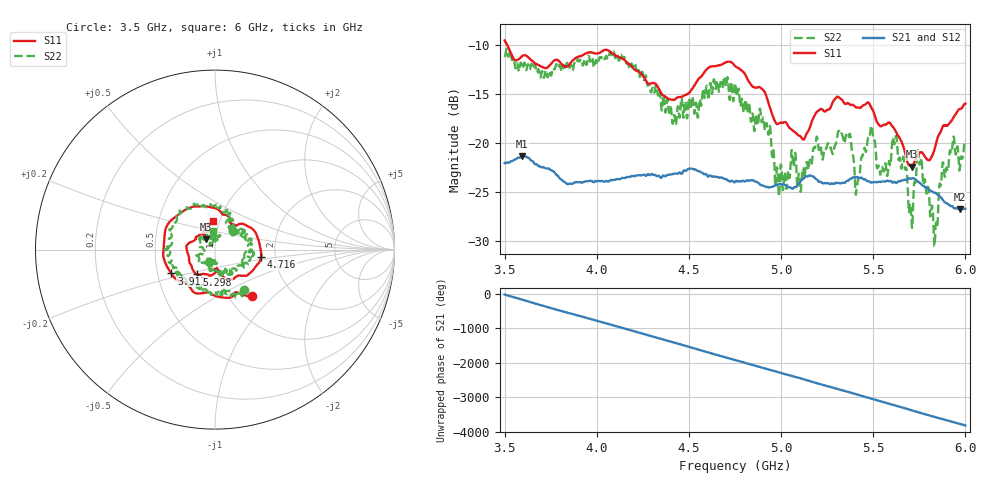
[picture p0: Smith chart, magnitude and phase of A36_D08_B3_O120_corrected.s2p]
! Created with skrf 1.9.0 (http://scikit-rf.org).
# Hz S RI R 50.0
!freq ReS11 ImS11 ReS21 ImS21 ReS12 ImS12 ReS22 ImS22
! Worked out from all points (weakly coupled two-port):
!   1601 points, 3.5 GHz to 6 GHz, reference 50 ohm
!   highest |S21| = -21.32 dB at 3.595 GHz (marker M1); lowest = -26.7 dB at 5.97 GHz (marker M2)
!   lowest |S11| = -22.4 dB at 5.711 GHz (marker M3), VSWR 1.16, Z = 45 + j5.19 ohm
!   |S11| at or under -10 dB: 3.514 GHz to end of sweep
!   |S22| runs from -30.5 to -10.4 dB; largest |S21 - S12| = 0.0011
!   S11 on the Smith chart (normalised r, x): 3.5 GHz: 1.28, -0.75; 3.911 GHz: 0.59, -0.17; 4.716 GHz: 1.68, -0.15; 5.298 GHz: 0.79, -0.22; 6 GHz: 0.94, +0.30
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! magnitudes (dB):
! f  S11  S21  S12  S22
! 3.5 GHz  -9.5  -22.0  -22.0  -11.1
! 3.595 GHz  -11.1  -21.3  -21.3  -12.3
! 3.911 GHz  -11.1  -24.0  -24.0  -11.5
! 3.917 GHz  -11.1  -24.0  -24.0  -11.5
! 4.334 GHz  -14.4  -23.3  -23.3  -15.1
! 4.716 GHz  -11.7  -23.9  -23.9  -14.4
! 4.75 GHz  -12.1  -24.0  -23.9  -13.9
! 4.931 GHz  -15.9  -24.5  -24.5  -19.2
! 4.98 GHz  -18.1  -24.3  -24.3  -22.5
! 5.167 GHz  -17.8  -23.4  -23.4  -22.0
! 5.298 GHz  -15.4  -24.1  -24.0  -20.0
! 5.367 GHz  -16.0  -23.8  -23.7  -19.2
! 5.412 GHz  -16.4  -23.5  -23.5  -24.3
! 5.484 GHz  -16.2  -24.0  -24.0  -18.8
! 5.584 GHz  -17.9  -23.9  -23.9  -22.0
! 5.617 GHz  -18.6  -24.0  -24.0  -20.0
! 5.711 GHz  -22.4  -23.6  -23.5  -28.7
! 5.752 GHz  -21.0  -24.0  -24.0  -22.2
! 5.839 GHz  -20.2  -25.1  -25.1  -28.5
! 5.872 GHz  -18.6  -25.7  -25.6  -23.2
! 5.97 GHz  -16.5  -26.7  -26.7  -22.5
! 6 GHz  -16.0  -26.7  -26.7  -19.8
